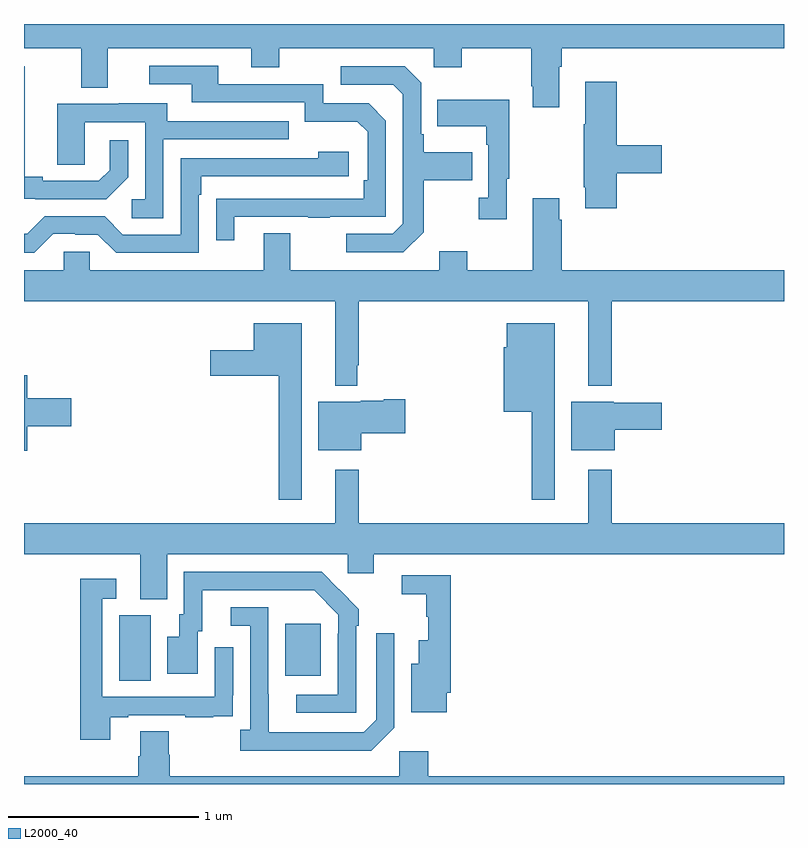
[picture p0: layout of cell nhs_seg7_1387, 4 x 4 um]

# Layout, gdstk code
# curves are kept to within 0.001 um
import gdstk
lib = gdstk.Library(unit=1e-6, precision=1e-09)
def R(c, l, rs):  # rectangles x0, y0, x1, y1
    for r in rs: c.add(gdstk.rectangle(r[:2], r[2:], *l))
def P(c, l, *ps):  # polygons
    for p in ps: c.add(gdstk.Polygon(p, *l))
L2000_40 = (2000, 40)

nhs_seg7_1387 = lib.new_cell('nhs_seg7_1387')
R(nhs_seg7_1387, L2000_40, [(205.502,1074.544,205.666,1074.888), (206.375,1074.569,206.563,1074.844)])
P(nhs_seg7_1387, L2000_40, [(207.817,1077.776),(207.83,1077.776),(207.83,1077.872),(209,1077.872),(209,1078),(205,1078),(205,1077.872),(205.301,1077.872),(205.301,1077.664),(205.441,1077.664),(205.441,1077.872),(206.195,1077.872),(206.195,1077.773),(206.343,1077.773),(206.343,1077.872),(207.156,1077.872),(207.156,1077.773),(207.303,1077.773),(207.303,1077.872),(207.67,1077.872),(207.67,1077.673),(207.677,1077.673),(207.677,1077.561),(207.817,1077.561)],
  [(206.107,1076.985),(206.497,1076.985),(206.497,1076.98),(206.609,1076.98),(206.609,1076.985),(206.904,1076.985),(206.904,1077.492),(206.814,1077.582),(206.574,1077.582),(206.574,1077.684),(206.023,1077.684),(206.023,1077.78),(205.659,1077.78),(205.659,1077.684),(205.883,1077.684),(205.883,1077.588),(206.478,1077.588),(206.478,1077.485),(206.755,1077.485),(206.808,1077.432),(206.808,1077.178),(206.788,1077.178),(206.788,1077.081),(206.011,1077.08),(206.011,1076.862),(206.107,1076.862)],
  [(207.103,1076.905),(207.103,1077.178),(207.359,1077.178),(207.359,1077.325),(207.103,1077.325),(207.103,1077.421),(207.09,1077.421),(207.09,1077.69),(207.003,1077.777),(206.667,1077.777),(206.667,1077.681),(206.943,1077.681),(206.994,1077.63),(206.994,1076.949),(206.94,1076.895),(206.697,1076.895),(206.697,1076.799),(206.997,1076.799)],
  [(205.548,1077.194),(205.548,1077.388),(205.451,1077.388),(205.451,1077.231),(205.394,1077.174),(205.099,1077.174),(205.099,1077.197),(205.003,1077.197),(205.003,1077.777),(205,1077.777),(205,1077.081),(205.06,1077.081),(205.06,1077.078),(205.432,1077.078)],
  [(208.121,1077.215),(208.357,1077.215),(208.357,1077.362),(208.121,1077.362),(208.121,1077.697),(207.953,1077.697),(207.953,1077.473),(207.946,1077.473),(207.946,1077.142),(207.953,1077.142),(207.953,1077.03),(208.121,1077.03)],
  [(207.541,1077.185),(207.553,1077.185),(207.553,1077.601),(207.175,1077.601),(207.175,1077.461),(207.432,1077.461),(207.432,1077.365),(207.444,1077.365),(207.444,1077.086),(207.393,1077.086),(207.393,1076.973),(207.541,1076.973)],
  [(205.734,1077.393),(206.393,1077.393),(206.393,1077.489),(205.753,1077.489),(205.753,1077.583),(205.499,1077.583),(205.499,1077.579),(205.175,1077.579),(205.175,1077.259),(205.32,1077.259),(205.32,1077.483),(205.638,1077.483),(205.638,1077.078),(205.566,1077.078),(205.566,1076.977),(205.734,1076.977)],
  [(205.155,1076.895),(205.271,1076.895),(205.271,1076.892),(205.389,1076.892),(205.485,1076.796),(205.92,1076.796),(205.92,1077.101),(205.933,1077.101),(205.933,1077.198),(206.71,1077.198),(206.71,1077.328),(206.549,1077.328),(206.549,1077.294),(205.824,1077.294),(205.824,1076.892),(205.521,1076.892),(205.425,1076.988),(205.11,1076.988),(205.017,1076.895),(205,1076.895),(205,1076.795),(205.055,1076.795)],
  [(206.753,1076.203),(206.761,1076.203),(206.761,1076.54),(207.971,1076.54),(207.971,1076.096),(208.093,1076.096),(208.093,1076.54),(209,1076.54),(209,1076.704),(207.83,1076.704),(207.83,1076.969),(207.817,1076.969),(207.817,1077.082),(207.677,1077.082),(207.677,1076.704),(207.333,1076.704),(207.333,1076.803),(207.185,1076.803),(207.185,1076.704),(206.401,1076.704),(206.401,1076.899),(206.261,1076.899),(206.261,1076.704),(205.347,1076.704),(205.347,1076.802),(205.209,1076.802),(205.209,1076.704),(205,1076.704),(205,1076.54),(206.639,1076.54),(206.639,1076.096),(206.753,1076.096)],
  [(206.461,1076.425),(206.21,1076.425),(206.21,1076.284),(205.98,1076.284),(205.98,1076.15),(206.34,1076.15),(206.34,1075.497),(206.461,1075.497)],
  [(207.793,1076.425),(207.542,1076.425),(207.542,1076.298),(207.524,1076.298),(207.524,1075.958),(207.672,1075.958),(207.672,1075.497),(207.793,1075.497)],
  [(205.016,1075.883),(205.249,1075.883),(205.249,1076.03),(205.016,1076.03),(205.016,1076.151),(205,1076.151),(205,1075.755),(205.016,1075.755)],
  [(206.776,1075.846),(207.007,1075.846),(207.007,1076.024),(206.894,1076.024),(206.894,1076.017),(206.772,1076.017),(206.772,1076.011),(206.549,1076.011),(206.549,1075.757),(206.776,1075.757)],
  [(208.108,1075.864),(208.357,1075.864),(208.357,1076.006),(208.104,1076.006),(208.104,1076.011),(207.881,1076.011),(207.881,1075.757),(208.108,1075.757)],
  [(205.753,1075.208),(206.703,1075.208),(206.703,1075.11),(206.842,1075.11),(206.842,1075.208),(209,1075.208),(209,1075.372),(208.093,1075.372),(208.093,1075.654),(207.971,1075.654),(207.971,1075.372),(206.761,1075.372),(206.761,1075.654),(206.639,1075.654),(206.639,1075.372),(205,1075.372),(205,1075.208),(205.613,1075.208),(205.613,1074.973),(205.753,1074.973)],
  [(206.748,1074.833),(206.763,1074.833),(206.763,1074.921),(206.566,1075.116),(205.842,1075.116),(205.842,1074.894),(205.817,1074.894),(205.817,1074.775),(205.754,1074.775),(205.754,1074.579),(205.915,1074.579),(205.915,1074.804),(205.939,1074.804),(205.939,1075.02),(206.527,1075.02),(206.655,1074.891),(206.655,1074.791),(206.652,1074.791),(206.652,1074.471),(206.433,1074.471),(206.433,1074.375),(206.748,1074.375)],
  [(207.226,1074.481),(207.245,1074.481),(207.245,1075.098),(206.988,1075.098),(206.988,1075),(207.117,1075),(207.117,1074.879),(207.128,1074.879),(207.128,1074.757),(207.077,1074.757),(207.077,1074.634),(207.038,1074.634),(207.038,1074.377),(207.226,1074.377)],
  [(205.453,1074.351),(205.549,1074.351),(205.549,1074.363),(205.849,1074.363),(205.849,1074.351),(205.997,1074.351),(205.997,1074.357),(206.099,1074.357),(206.099,1074.466),(206.1,1074.466),(206.1,1074.721),(206.004,1074.721),(206.004,1074.459),(205.413,1074.459),(205.413,1074.975),(205.486,1074.975),(205.486,1075.081),(205.297,1075.081),(205.297,1074.234),(205.453,1074.234)],
  [(206.949,1074.297),(206.949,1074.793),(206.853,1074.793),(206.853,1074.339),(206.787,1074.273),(206.287,1074.273),(206.286,1074.93),(206.088,1074.93),(206.088,1074.834),(206.19,1074.834),(206.19,1074.286),(206.139,1074.286),(206.139,1074.176),(206.828,1074.176)],
  [(209,1074.04),(207.128,1074.04),(207.128,1074.172),(206.976,1074.172),(206.976,1074.04),(205.766,1074.04),(205.766,1074.153),(205.761,1074.153),(205.761,1074.278),(205.613,1074.278),(205.613,1074.146),(205.601,1074.146),(205.601,1074.04),(205,1074.04),(205,1074),(209,1074)])

lib.write_gds('nhs_seg7_1387.gds')
